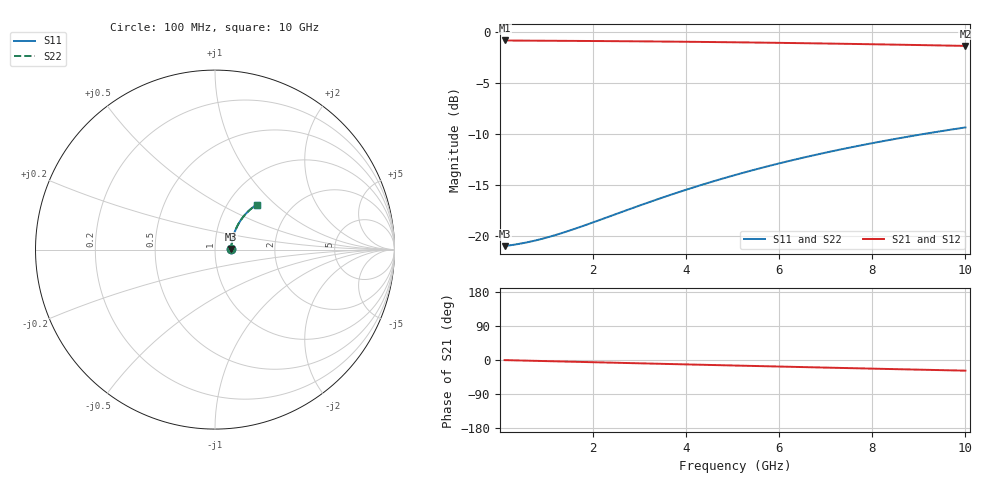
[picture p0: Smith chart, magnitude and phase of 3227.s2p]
# Hz S RI R 50.00
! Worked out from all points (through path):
!   100 points, 100 MHz to 10 GHz, reference 50 ohm
!   highest |S21| = -0.81 dB at 100 MHz (marker M1); lowest = -1.3 dB at 10 GHz (marker M2)
!   group delay of S21, straight-line fit = 7.82 ps
!   lowest |S11| = -21.0 dB at 100 MHz (marker M3), VSWR 1.20, Z = 59.8 + j0.377 ohm
!   |S11| at or under -10 dB: start of sweep to 9.103 GHz
!   |S22| runs from -21.0 to -9.4 dB; largest |S21 - S12| = 0
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1e8  0.0889 0.00313  0.9111 -0.00466  0.9111 -0.00466  0.0889 0.00313
5e8  0.0908 0.0156  0.9092 -0.0232  0.9092 -0.0232  0.0908 0.0156
7e8  0.0916 0.0218  0.9083 -0.0325  0.9083 -0.0325  0.0916 0.0218
9e8  0.0924 0.028  0.9074 -0.0417  0.9074 -0.0417  0.0924 0.028
1.1e9  0.0934 0.0341  0.9064 -0.0509  0.9064 -0.0509  0.0934 0.0341
1.3e9  0.0944 0.0402  0.9054 -0.0601  0.9054 -0.0601  0.0944 0.0402
1.8e9  0.0974 0.0555  0.9022 -0.083  0.9022 -0.083  0.0974 0.0555
2.6e9  0.1036 0.0793  0.8955 -0.1191  0.8955 -0.1191  0.1036 0.0793
3.4e9  0.1116 0.1025  0.887 -0.1546  0.887 -0.1546  0.1116 0.1025
3.9e9  0.1174 0.1166  0.8807 -0.1763  0.8807 -0.1763  0.1174 0.1166
4.3e9  0.1226 0.1276  0.8751 -0.1935  0.8751 -0.1935  0.1226 0.1276
4.7e9  0.1281 0.1384  0.8691 -0.2103  0.8691 -0.2103  0.1281 0.1384
5.1e9  0.134 0.1488  0.8627 -0.2269  0.8627 -0.2269  0.134 0.1488
5.5e9  0.1404 0.159  0.8559 -0.2433  0.8559 -0.2433  0.1404 0.159
5.9e9  0.147 0.1688  0.8486 -0.2593  0.8486 -0.2593  0.147 0.1688
6.3e9  0.154 0.1784  0.841 -0.275  0.841 -0.275  0.154 0.1784
6.7e9  0.1614 0.1876  0.833 -0.2903  0.833 -0.2903  0.1614 0.1876
7.5e9  0.177 0.2049  0.816 -0.3201  0.816 -0.3201  0.177 0.2049
7.9e9  0.1852 0.2131  0.8071 -0.3344  0.8071 -0.3344  0.1852 0.2131
8.4e9  0.1958 0.2227  0.7954 -0.3518  0.7954 -0.3518  0.1958 0.2227
9.2e9  0.2134 0.2369  0.776 -0.3784  0.776 -0.3784  0.2134 0.2369
1e10  0.2319 0.2496  0.7556 -0.4035  0.7556 -0.4035  0.2319 0.2496
